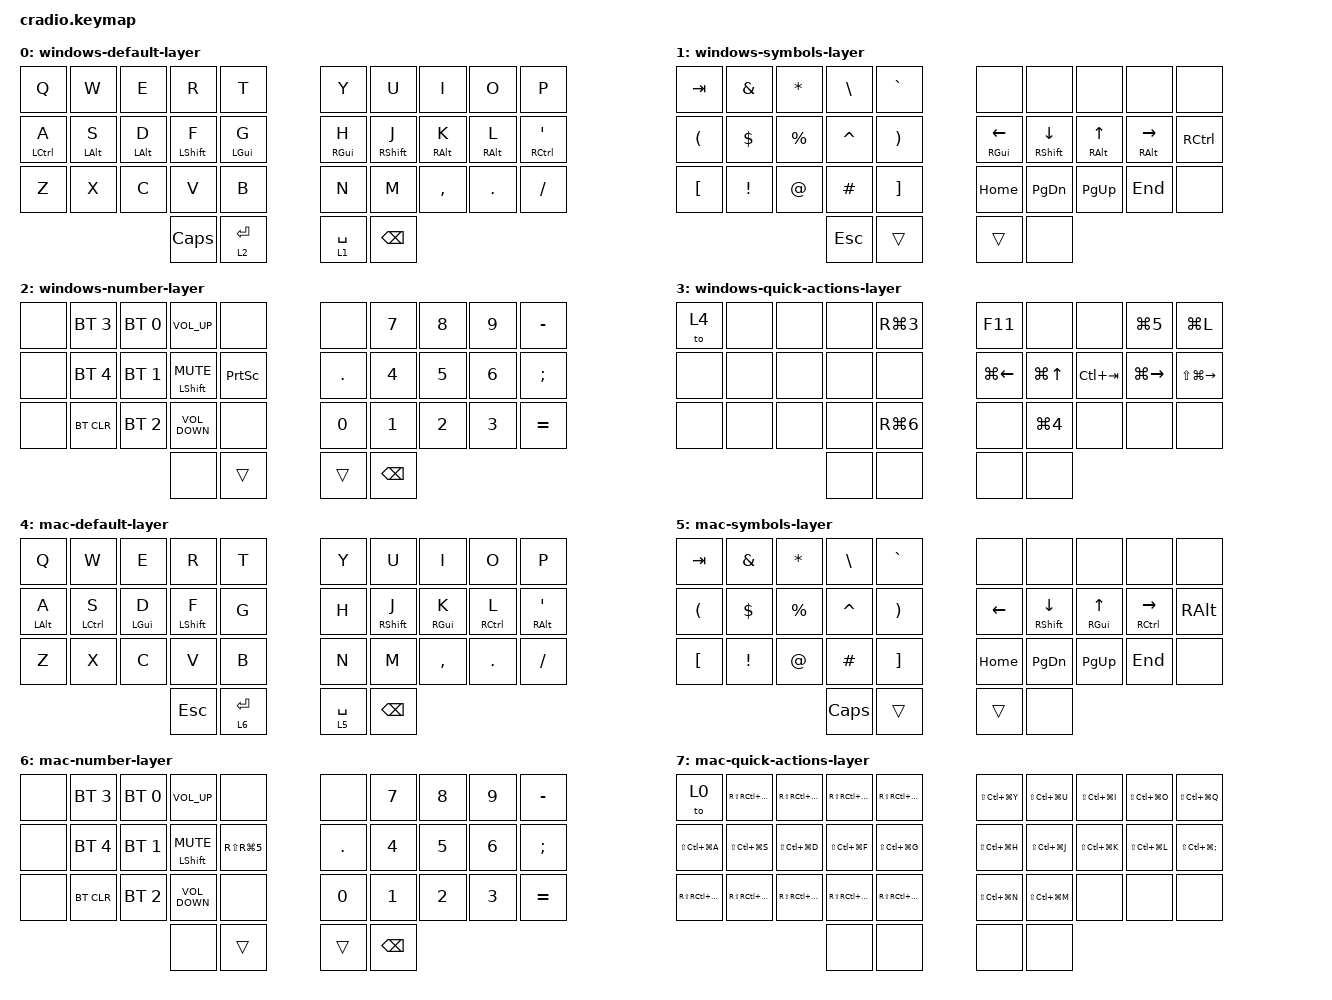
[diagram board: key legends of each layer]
#include <behaviors.dtsi>
#include <dt-bindings/zmk/bt.h>
#include <dt-bindings/zmk/keys.h>

&lt { tapping-term-ms = <150>; };

/ {
    behaviors {
        hm: homerow_mods {
            label = "Homerow Mods";
            compatible = "zmk,behavior-hold-tap";
            #binding-cells = <2>;
            flavor = "tap-preferred";
            tapping-term-ms = <200>;
            quick-tap-ms = <0>;
            bindings = <&kp>, <&kp>;
        };

        hmd: homerow_mods_dominant {
            compatible = "zmk,behavior-hold-tap";
            label = "Homerow Mods Dominant";
            bindings = <&kp>, <&kp>;

            #binding-cells = <2>;
            tapping-term-ms = <150>;
            flavor = "tap-preferred";
            quick-tap-ms = <0>;
        };
    };

    keymap {
        compatible = "zmk,keymap";

        windows-default-layer {
            bindings = <
&kp Q               &kp W           &kp E            &kp R              &kp T             &kp Y            &kp U               &kp I             &kp O            &kp P
&hm LEFT_CONTROL A  &hm LEFT_ALT S  &hmd LEFT_ALT D  &hmd LEFT_SHIFT F  &hm LEFT_GUI G    &hm RIGHT_GUI H  &hmd RIGHT_SHIFT J  &hmd RIGHT_ALT K  &hm RIGHT_ALT L  &hm RIGHT_CONTROL APOS
&kp Z               &kp X           &kp C            &kp V              &kp B             &kp N            &kp M               &kp COMMA         &kp DOT          &kp FSLH
                                                     &kp CAPSLOCK       &lt 2 ENTER       &lt 1 SPACE      &kp BSPC
            >;
        };

        windows-symbols-layer {
            bindings = <
&kp TAB               &kp AMPERSAND    &kp STAR     &kp BACKSLASH  &kp GRAVE                &none                     &none                  &none                    &none                &none
&kp LEFT_PARENTHESIS  &kp DOLLAR       &kp PERCENT  &kp CARET      &kp RIGHT_PARENTHESIS    &hm RIGHT_GUI LEFT_ARROW  &hmd RIGHT_SHIFT DOWN  &hmd RIGHT_ALT UP_ARROW  &hm RIGHT_ALT RIGHT  &kp RIGHT_CONTROL
&kp LEFT_BRACKET      &kp EXCLAMATION  &kp AT_SIGN  &kp HASH       &kp RIGHT_BRACKET        &kp HOME                  &kp PAGE_DOWN          &kp PAGE_UP              &kp END              &none
                                                    &kp ESCAPE     &trans                   &trans                    &none
            >;
        };

        windows-number-layer {
            bindings = <
&none  &bt BT_SEL 3  &bt BT_SEL 0  &kp C_VOLUME_UP    &none              &none    &kp N7         &kp N8  &kp N9  &kp MINUS
&none  &bt BT_SEL 4  &bt BT_SEL 1  &hmd LSHFT K_MUTE  &kp PRINTSCREEN    &kp DOT  &kp N4         &kp N5  &kp N6  &kp SEMI
&none  &bt BT_CLR    &bt BT_SEL 2  &kp C_VOLUME_DOWN  &none              &kp N0   &kp N1         &kp N2  &kp N3  &kp EQUAL
                                   &none              &trans             &trans   &kp BACKSPACE
            >;
        };

        windows-quick-actions-layer {
            bindings = <
&to 4  &none  &none  &none  &kp RG(N3)          &kp F11       &none             &none        &kp LG(N5)     &kp LG(L)
&none  &none  &none  &none  &none               &kp LG(LEFT)  &kp LG(UP_ARROW)  &kp LC(TAB)  &kp LG(RIGHT)  &kp LS(LG(RIGHT))
&none  &none  &none  &none  &kp RG(NUMBER_6)    &none         &kp LG(NUMBER_4)  &none        &none          &none
                     &none  &none               &none         &none
            >;
        };

        mac-default-layer {
            bindings = <
&kp Q           &kp W               &kp E            &kp R              &kp T          &kp Y        &kp U               &kp I             &kp O                &kp P
&hm LEFT_ALT A  &hm LEFT_CONTROL S  &hmd LEFT_GUI D  &hmd LEFT_SHIFT F  &kp G          &kp H        &hmd RIGHT_SHIFT J  &hmd RIGHT_GUI K  &hm RIGHT_CONTROL L  &hm RIGHT_ALT APOS
&kp Z           &kp X               &kp C            &kp V              &kp B          &kp N        &kp M               &kp COMMA         &kp DOT              &kp FSLH
                                                     &kp ESC            &lt 6 ENTER    &lt 5 SPACE  &kp BSPC
            >;
        };

        mac-symbols-layer {
            bindings = <
&kp TAB               &kp AMPERSAND    &kp STAR     &kp BACKSLASH  &kp GRAVE                &none           &none                        &none                    &none                    &none
&kp LEFT_PARENTHESIS  &kp DOLLAR       &kp PERCENT  &kp CARET      &kp RIGHT_PARENTHESIS    &kp LEFT_ARROW  &hmd RIGHT_SHIFT DOWN_ARROW  &hmd RIGHT_GUI UP_ARROW  &hm RIGHT_CONTROL RIGHT  &kp RIGHT_ALT
&kp LEFT_BRACKET      &kp EXCLAMATION  &kp AT_SIGN  &kp HASH       &kp RIGHT_BRACKET        &kp HOME        &kp PAGE_DOWN                &kp PAGE_UP              &kp END                  &none
                                                    &kp CAPS       &trans                   &trans          &none
            >;
        };

        mac-number-layer {
            bindings = <
&none  &bt BT_SEL 3  &bt BT_SEL 0  &kp C_VOLUME_UP    &none                   &none    &kp N7         &kp N8  &kp N9  &kp MINUS
&none  &bt BT_SEL 4  &bt BT_SEL 1  &hmd LSHFT K_MUTE  &kp RS(RG(NUMBER_5))    &kp DOT  &kp N4         &kp N5  &kp N6  &kp SEMI
&none  &bt BT_CLR    &bt BT_SEL 2  &kp C_VOLUME_DOWN  &none                   &kp N0   &kp N1         &kp N2  &kp N3  &kp EQUAL
                                   &none              &trans                  &trans   &kp BACKSPACE
            >;
        };

        mac-quick-actions-layer {
            bindings = <
&to 0              &kp RS(RC(RG(W)))  &kp RS(RC(RG(E)))  &kp RS(RC(RG(R)))  &kp RS(RC(RG(T)))    &kp LS(LC(LG(Y)))  &kp LS(LC(LG(U)))  &kp LS(LC(LG(I)))  &kp LS(LC(LG(O)))  &kp LS(LC(LG(Q)))
&kp LS(LC(LG(A)))  &kp LS(LC(LG(S)))  &kp LS(LC(LG(D)))  &kp LS(LC(LG(F)))  &kp LS(LC(LG(G)))    &kp LS(LC(LG(H)))  &kp LS(LC(LG(J)))  &kp LS(LC(LG(K)))  &kp LS(LC(LG(L)))  &kp LS(LC(LG(SEMICOLON)))
&kp RS(RC(RG(Z)))  &kp RS(RC(RG(X)))  &kp RS(RC(RG(C)))  &kp RS(RC(RG(V)))  &kp RS(RC(RG(B)))    &kp LS(LC(LG(N)))  &kp LS(LC(LG(M)))  &none              &none              &none
                                                         &none              &none                &none              &none
            >;
        };
    };

    conditional_layers {
        compatible = "zmk,conditional-layers";

        tri_layer {
            if-layers = <5 6>;
            then-layer = <7>;
        };

        windows-tri-layer {
            if-layers = <1 2>;
            then-layer = <3>;
        };
    };
};
